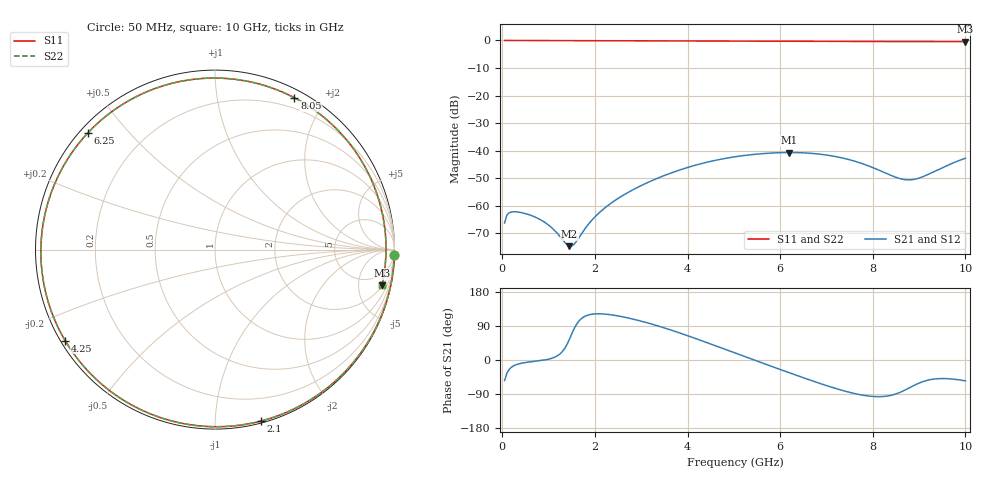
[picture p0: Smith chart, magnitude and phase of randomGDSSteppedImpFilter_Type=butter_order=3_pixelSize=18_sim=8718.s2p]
! freq	dB(S11)	phase(S11)	dB(S12)	phase(S12)
!  dB(S21)	phase(S21)	dB(S22)	phase(S22)
!S-par simulation data
#  GHz  S  DB  R 50
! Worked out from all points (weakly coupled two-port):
!   200 points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, 50 MHz to 10 GHz, reference 50 ohm
!   highest |S21| = -40.71 dB at 6.2 GHz (marker M1); lowest = -74.7 dB at 1.45 GHz (marker M2)
!   lowest |S11| = -0.4 dB at 10 GHz (marker M3), VSWR 39.99, Z = 108 - j448 ohm
!   |S11| at or under -10 dB: nowhere
!   |S22| runs from -0.4 to 0.0 dB; largest |S21 - S12| = 0
!   S11 on the Smith chart (normalised r, x): 50 MHz: 0, -62; 2.1 GHz: 0.01, -1.30; 4.25 GHz: 0.01, -0.28; 6.25 GHz: 0.02, +0.39; 8.05 GHz: 0.09, +1.65; 10 GHz: 2.15, -8.97
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0.05  -0.00 -1.8  -66.31 -54.3  -66.31 -54.3  -0.00 -1.8
0.1  -0.00 -3.7  -63.37 -34.7  -63.37 -34.7  -0.00 -3.7
0.2  -0.00 -7.3  -62.29 -18.8  -62.29 -18.8  -0.00 -7.3
0.6  -0.02 -21.9  -63.41 -5.0  -63.41 -5.0  -0.02 -21.9
1  -0.04 -36.3  -67.07 2.2  -67.07 2.2  -0.04 -36.3
1.45  -0.07 -52.4  -74.72 54.8  -74.72 54.8  -0.07 -52.4
1.75  -0.08 -62.9  -69.22 113.0  -69.22 113.0  -0.08 -62.9
2.1  -0.10 -75.1  -62.47 121.9  -62.47 121.9  -0.10 -75.1
2.75  -0.12 -97.4  -54.88 110.0  -54.88 110.0  -0.12 -97.4
3.4  -0.16 -119.6  -49.71 88.5  -49.71 88.5  -0.16 -119.6
4.25  -0.20 -148.7  -44.94 53.4  -44.94 53.4  -0.20 -148.7
5.05  -0.26 -177.0  -42.18 17.4  -42.18 17.4  -0.26 -177.0
5.6  -0.30 162.6  -41.13 -7.3  -41.13 -7.3  -0.30 162.6
6.2  -0.34 139.3  -40.71 -33.8  -40.71 -33.8  -0.34 139.3
6.25  -0.34 137.4  -40.71 -35.9  -40.71 -35.9  -0.34 137.3
6.7  -0.37 119.1  -41.04 -55.3  -41.04 -55.3  -0.37 119.1
7.4  -0.39 89.8  -42.90 -82.2  -42.90 -82.2  -0.39 89.8
8.05  -0.40 62.4  -46.51 -96.5  -46.51 -96.5  -0.40 62.4
8.35  -0.40 49.9  -48.70 -94.3  -48.70 -94.3  -0.40 49.9
8.9  -0.41 27.8  -50.43 -66.5  -50.43 -66.5  -0.41 27.8
9.45  -0.41 7.0  -46.62 -49.1  -46.62 -49.1  -0.41 7.0
10  -0.43 -12.0  -42.77 -55.1  -42.77 -55.1  -0.43 -12.1
